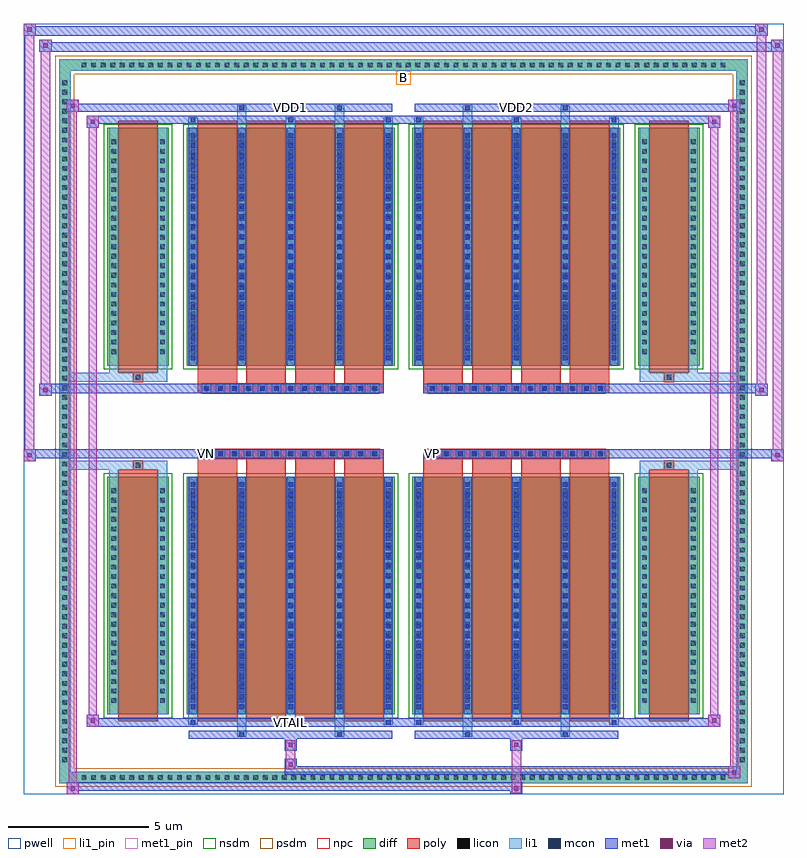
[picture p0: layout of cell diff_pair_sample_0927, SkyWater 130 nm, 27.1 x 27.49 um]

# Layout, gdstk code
import gdstk
lib = gdstk.Library(unit=1e-6, precision=5e-09)
def R(c, l, rs):  # rectangles x0, y0, x1, y1
    for r in rs: c.add(gdstk.rectangle(r[:2], r[2:], *l))
def A(c, l, x, y, w, h, nx, ny, dx, dy):  # array of equal rectangles
    R(c, l, [(x+i*dx, y+j*dy, x+i*dx+w, y+j*dy+h) for i in range(nx) for j in range(ny)])
def P(c, l, *ps):  # polygons
    for p in ps: c.add(gdstk.Polygon(p, *l))
pwell = (64, 44)
diff = (65, 20)
poly = (66, 20)
licon = (66, 44)
li1_pin = (67, 16)
li1 = (67, 20)
mcon = (67, 44)
met1_pin = (68, 16)
met1 = (68, 20)
via = (68, 44)
met2 = (69, 20)
nsdm = (93, 44)
psdm = (94, 20)
npc = (95, 20)

diff_pair_sample_0927 = lib.new_cell('diff_pair_sample_0927')
R(diff_pair_sample_0927, pwell, [(-13.55,-13.31,13.55,14.18), (-10.87,-11.5,-0.01,-0.8), (0.01,-11.5,10.87,-0.8), (-10.87,0.8,-0.01,11.5), (0.01,0.8,10.87,11.5)])
A(diff_pair_sample_0927, diff, -11.595, -12.91, 0.41, 0.41, 68, 2, 0.34, 25.41)
A(diff_pair_sample_0927, diff, -12.28, -12.275, 0.41, 0.41, 1, 72, 0, 0.34)
A(diff_pair_sample_0927, diff, 11.87, -12.275, 0.41, 0.41, 1, 72, 0, 0.34)
R(diff_pair_sample_0927, diff, [(-11.595,-12.91,11.595,-12.5), (-12.28,-12.275,-11.87,12.275), (11.87,-12.275,12.28,12.275), (-10.56,-10.455,-8.37,-1.985), (-7.73,-10.455,-0.32,-1.985), (0.32,-10.455,7.73,-1.985), (8.37,-10.455,10.56,-1.985), (-10.56,1.985,-8.37,10.455), (-7.73,1.985,-0.32,10.455), (0.32,1.985,7.73,10.455), (8.37,1.985,10.56,10.455), (-11.595,12.5,11.595,12.91)])
P(diff_pair_sample_0927, diff, [(12.28,12.91),(-12.28,12.91),(-12.28,-12.5),(-11.87,-12.5),(-11.87,12.5),(11.87,12.5),(11.87,-12.5),(-11.87,-12.5),(-12.28,-12.5),(-12.28,-12.91),(12.28,-12.91)])
A(diff_pair_sample_0927, poly, -7.34, -10.705, 1.41, 8.97, 4, 2, 1.74, 12.44)
A(diff_pair_sample_0927, poly, 0.71, -10.705, 1.41, 8.97, 4, 2, 1.74, 12.44)
A(diff_pair_sample_0927, poly, -7.34, -1.735, 1.41, 0.405, 4, 2, 1.74, 3.065)
A(diff_pair_sample_0927, poly, 0.71, -1.735, 1.41, 0.405, 4, 2, 1.74, 3.065)
A(diff_pair_sample_0927, poly, -7.19, -1.33, 0.33, 0.33, 13, 2, 0.5, 2.33)
A(diff_pair_sample_0927, poly, 0.86, -1.33, 0.33, 0.33, 13, 2, 0.5, 2.33)
R(diff_pair_sample_0927, poly, [(-10.17,-10.705,-8.76,-1.735), (8.76,-10.705,10.17,-1.735), (-9.63,-1.735,-9.3,-1.405), (-9.63,-1.735,-9.3,-1.405), (9.3,-1.735,9.63,-1.405), (9.3,-1.735,9.63,-1.405), (-7.34,-1.33,-0.71,-1), (0.71,-1.33,7.34,-1), (-7.34,1,-0.71,1.33), (0.71,1,7.34,1.33), (-9.63,1.405,-9.3,1.735), (-9.63,1.405,-9.3,1.735), (9.3,1.405,9.63,1.735), (9.3,1.405,9.63,1.735), (-10.17,1.735,-8.76,10.705), (8.76,1.735,10.17,10.705)])
A(diff_pair_sample_0927, licon, -11.475, -12.79, 0.17, 0.17, 68, 2, 0.34, 25.41)
A(diff_pair_sample_0927, licon, -12.16, -12.155, 0.17, 0.17, 1, 72, 0, 0.34)
A(diff_pair_sample_0927, licon, 11.99, -12.155, 0.17, 0.17, 1, 72, 0, 0.34)
A(diff_pair_sample_0927, licon, -10.42, -10.045, 0.17, 0.17, 1, 23, 0, 0.34)
A(diff_pair_sample_0927, licon, -8.68, -10.045, 0.17, 0.17, 1, 23, 0, 0.34)
A(diff_pair_sample_0927, licon, -7.59, -10.045, 0.17, 0.17, 5, 23, 1.74, 0.34)
A(diff_pair_sample_0927, licon, 0.46, -10.045, 0.17, 0.17, 5, 23, 1.74, 0.34)
A(diff_pair_sample_0927, licon, 8.51, -10.045, 0.17, 0.17, 1, 23, 0, 0.34)
A(diff_pair_sample_0927, licon, 10.25, -10.045, 0.17, 0.17, 1, 23, 0, 0.34)
A(diff_pair_sample_0927, licon, -7.11, -1.25, 0.17, 0.17, 13, 2, 0.5, 2.33)
A(diff_pair_sample_0927, licon, 0.94, -1.25, 0.17, 0.17, 13, 2, 0.5, 2.33)
A(diff_pair_sample_0927, licon, -10.42, 2.395, 0.17, 0.17, 1, 23, 0, 0.34)
A(diff_pair_sample_0927, licon, -8.68, 2.395, 0.17, 0.17, 1, 23, 0, 0.34)
A(diff_pair_sample_0927, licon, -7.59, 2.395, 0.17, 0.17, 5, 23, 1.74, 0.34)
A(diff_pair_sample_0927, licon, 0.46, 2.395, 0.17, 0.17, 5, 23, 1.74, 0.34)
A(diff_pair_sample_0927, licon, 8.51, 2.395, 0.17, 0.17, 1, 23, 0, 0.34)
A(diff_pair_sample_0927, licon, 10.25, 2.395, 0.17, 0.17, 1, 23, 0, 0.34)
R(diff_pair_sample_0927, licon, [(-9.55,-1.655,-9.38,-1.485), (9.38,-1.655,9.55,-1.485), (-9.55,1.485,-9.38,1.655), (9.38,1.485,9.55,1.655)])
R(diff_pair_sample_0927, li1_pin, [(-0.25,12,0.25,12.5)])
A(diff_pair_sample_0927, li1, -11.555, -12.87, 0.33, 0.33, 68, 2, 0.34, 25.41)
A(diff_pair_sample_0927, li1, -12.24, -12.235, 0.33, 0.33, 1, 72, 0, 0.34)
A(diff_pair_sample_0927, li1, 11.91, -12.235, 0.33, 0.33, 1, 72, 0, 0.34)
A(diff_pair_sample_0927, li1, -7.67, -10.83, 0.33, 0.375, 3, 2, 3.48, 21.285)
A(diff_pair_sample_0927, li1, -7.59, -10.83, 0.17, 0.17, 3, 2, 3.48, 21.49)
A(diff_pair_sample_0927, li1, 0.38, -10.83, 0.33, 0.375, 3, 2, 3.48, 21.285)
A(diff_pair_sample_0927, li1, 0.46, -10.83, 0.17, 0.17, 3, 2, 3.48, 21.49)
A(diff_pair_sample_0927, li1, -7.67, -10.455, 0.33, 8.47, 5, 2, 1.74, 12.44)
A(diff_pair_sample_0927, li1, 0.38, -10.455, 0.33, 8.47, 5, 2, 1.74, 12.44)
A(diff_pair_sample_0927, li1, -7.59, -10.265, 0.17, 0.17, 5, 23, 1.74, 0.36)
A(diff_pair_sample_0927, li1, -7.59, -10.265, 0.17, 8.09, 5, 2, 1.74, 12.44)
A(diff_pair_sample_0927, li1, 0.46, -10.265, 0.17, 0.17, 5, 23, 1.74, 0.36)
A(diff_pair_sample_0927, li1, 0.46, -10.265, 0.17, 8.09, 5, 2, 1.74, 12.44)
A(diff_pair_sample_0927, li1, -10.5, -10.125, 0.33, 0.33, 1, 23, 0, 0.34)
A(diff_pair_sample_0927, li1, -8.76, -10.125, 0.33, 0.33, 1, 23, 0, 0.34)
A(diff_pair_sample_0927, li1, -7.67, -10.125, 0.33, 0.33, 5, 23, 1.74, 0.34)
A(diff_pair_sample_0927, li1, 0.38, -10.125, 0.33, 0.33, 5, 23, 1.74, 0.34)
A(diff_pair_sample_0927, li1, 8.43, -10.125, 0.33, 0.33, 1, 23, 0, 0.34)
A(diff_pair_sample_0927, li1, 10.17, -10.125, 0.33, 0.33, 1, 23, 0, 0.34)
A(diff_pair_sample_0927, li1, -7.19, -1.33, 0.33, 0.33, 13, 2, 0.5, 2.33)
A(diff_pair_sample_0927, li1, 0.86, -1.33, 0.33, 0.33, 13, 2, 0.5, 2.33)
A(diff_pair_sample_0927, li1, -7.59, 2.175, 0.17, 0.17, 5, 23, 1.74, 0.36)
A(diff_pair_sample_0927, li1, 0.46, 2.175, 0.17, 0.17, 5, 23, 1.74, 0.36)
A(diff_pair_sample_0927, li1, -10.5, 2.315, 0.33, 0.33, 1, 23, 0, 0.34)
A(diff_pair_sample_0927, li1, -8.76, 2.315, 0.33, 0.33, 1, 23, 0, 0.34)
A(diff_pair_sample_0927, li1, -7.67, 2.315, 0.33, 0.33, 5, 23, 1.74, 0.34)
A(diff_pair_sample_0927, li1, 0.38, 2.315, 0.33, 0.33, 5, 23, 1.74, 0.34)
A(diff_pair_sample_0927, li1, 8.43, 2.315, 0.33, 0.33, 1, 23, 0, 0.34)
A(diff_pair_sample_0927, li1, 10.17, 2.315, 0.33, 0.33, 1, 23, 0, 0.34)
R(diff_pair_sample_0927, li1, [(-12.28,-12.91,-11.87,-12.5), (-12.28,-12.91,-11.87,-12.5), (-11.87,-12.91,11.87,-12.5), (11.87,-12.91,12.28,-12.5), (11.87,-12.91,12.28,-12.5), (-12.28,-12.5,-11.87,12.5), (11.87,-12.5,12.28,12.5), (-5.93,-11.26,-5.6,-10.455), (-5.85,-11.26,-5.68,-11.09), (-2.45,-11.26,-2.12,-10.455), (-2.37,-11.26,-2.2,-11.09), (2.12,-11.26,2.45,-10.455), (2.2,-11.26,2.37,-11.09), (5.6,-11.26,5.93,-10.455), (5.68,-11.26,5.85,-11.09), (-10.5,-10.455,-10.17,-1.985), (-8.76,-10.455,-8.43,-1.985), (8.43,-10.455,8.76,-1.985), (10.17,-10.455,10.5,-1.985), (-10.5,-1.985,-10.17,-1.405), (-8.76,-1.985,-8.43,-1.405), (8.43,-1.985,8.76,-1.405), (10.17,-1.985,10.5,-1.405), (-12.28,-1.735,-9.63,-1.405), (-10.5,-1.735,-9.63,-1.405), (-9.63,-1.735,-9.3,-1.405), (-9.3,-1.735,-8.43,-1.405), (8.43,-1.735,9.3,-1.405), (9.3,-1.735,9.63,-1.405), (9.3,-1.735,12.28,-1.405), (9.63,-1.735,10.5,-1.405), (-12.28,1.405,-9.63,1.735), (-10.5,1.405,-9.63,1.735), (-10.5,1.405,-10.17,1.985), (-9.63,1.405,-9.3,1.735), (-9.3,1.405,-8.43,1.735), (-8.76,1.405,-8.43,1.985), (8.43,1.405,9.3,1.735), (8.43,1.405,8.76,1.985), (9.3,1.405,9.63,1.735), (9.3,1.405,12.28,1.735), (9.63,1.405,10.5,1.735), (10.17,1.405,10.5,1.985), (-10.5,1.985,-10.17,10.455), (-8.76,1.985,-8.43,10.455), (8.43,1.985,8.76,10.455), (10.17,1.985,10.5,10.455), (-5.93,10.455,-5.6,11.26), (-2.45,10.455,-2.12,11.26), (2.12,10.455,2.45,11.26), (5.6,10.455,5.93,11.26), (-5.85,11.09,-5.68,11.26), (-2.37,11.09,-2.2,11.26), (2.2,11.09,2.37,11.26), (5.68,11.09,5.85,11.26), (-12.28,12.5,-11.87,12.91), (-12.28,12.5,-11.87,12.91), (-11.87,12.5,11.87,12.91), (11.87,12.5,12.28,12.91), (11.87,12.5,12.28,12.91)])
A(diff_pair_sample_0927, mcon, -7.59, -10.83, 0.17, 0.17, 3, 2, 3.48, 21.49)
A(diff_pair_sample_0927, mcon, 0.46, -10.83, 0.17, 0.17, 3, 2, 3.48, 21.49)
A(diff_pair_sample_0927, mcon, -7.59, -10.265, 0.17, 0.17, 5, 23, 1.74, 0.36)
A(diff_pair_sample_0927, mcon, 0.46, -10.265, 0.17, 0.17, 5, 23, 1.74, 0.36)
A(diff_pair_sample_0927, mcon, -7.11, -1.25, 0.17, 0.17, 13, 2, 0.5, 2.33)
A(diff_pair_sample_0927, mcon, 0.94, -1.25, 0.17, 0.17, 13, 2, 0.5, 2.33)
A(diff_pair_sample_0927, mcon, -7.59, 2.175, 0.17, 0.17, 5, 23, 1.74, 0.36)
A(diff_pair_sample_0927, mcon, 0.46, 2.175, 0.17, 0.17, 5, 23, 1.74, 0.36)
R(diff_pair_sample_0927, mcon, [(-5.85,-11.26,-5.68,-11.09), (-2.37,-11.26,-2.2,-11.09), (2.2,-11.26,2.37,-11.09), (5.68,-11.26,5.85,-11.09), (-5.85,11.09,-5.68,11.26), (-2.37,11.09,-2.2,11.26), (2.2,11.09,2.37,11.26), (5.68,11.09,5.85,11.26)])
R(diff_pair_sample_0927, met1_pin, [(-4.16,-10.87,-3.89,-10.6), (-7.16,-1.29,-6.89,-1.02), (0.89,-1.29,1.16,-1.02), (-4.16,11.05,-3.89,11.32), (3.89,11.05,4.16,11.32)])
A(diff_pair_sample_0927, met1, -7.65, -10.89, 0.29, 0.29, 3, 2, 3.48, 21.49)
A(diff_pair_sample_0927, met1, 0.4, -10.89, 0.29, 0.29, 3, 2, 3.48, 21.49)
A(diff_pair_sample_0927, met1, -7.65, -10.455, 0.29, 8.47, 5, 2, 1.74, 12.44)
A(diff_pair_sample_0927, met1, 0.4, -10.455, 0.29, 8.47, 5, 2, 1.74, 12.44)
A(diff_pair_sample_0927, met1, -7.65, -10.325, 0.29, 0.29, 5, 23, 1.74, 0.36)
A(diff_pair_sample_0927, met1, 0.4, -10.325, 0.29, 0.29, 5, 23, 1.74, 0.36)
A(diff_pair_sample_0927, met1, -7.17, -1.31, 0.29, 0.29, 13, 2, 0.5, 2.33)
A(diff_pair_sample_0927, met1, 0.88, -1.31, 0.29, 0.29, 13, 2, 0.5, 2.33)
A(diff_pair_sample_0927, met1, -7.65, 2.115, 0.29, 0.29, 5, 23, 1.74, 0.36)
A(diff_pair_sample_0927, met1, 0.4, 2.115, 0.29, 0.29, 5, 23, 1.74, 0.36)
R(diff_pair_sample_0927, met1, [(-12.01,-13.31,-11.58,-12.88), (3.81,-13.31,4.24,-12.88), (-12.01,-13.17,4.24,-12.88), (11.58,-12.74,12.01,-12.31), (-4.24,-12.6,12.01,-12.31), (-4.24,-12.46,-3.81,-12.03), (-4.24,-11.75,-3.81,-11.32), (3.81,-11.75,4.24,-11.32), (-7.65,-11.32,-0.4,-11.03), (-5.91,-11.32,-5.62,-11.03), (-2.43,-11.32,-2.14,-11.03), (0.4,-11.32,7.65,-11.03), (2.14,-11.32,2.43,-11.03), (5.62,-11.32,5.91,-11.03), (-11.3,-10.89,-10.87,-10.46), (-11.3,-10.89,-7.65,-10.6), (-7.65,-10.89,-0.4,-10.6), (-0.4,-10.89,0.4,-10.6), (0.4,-10.89,7.65,-10.6), (7.65,-10.89,11.3,-10.6), (10.87,-10.89,11.3,-10.46), (-13.55,-1.43,-13.12,-1), (13.12,-1.43,13.55,-1), (-13.55,-1.33,-0.71,-1), (-7.34,-1.33,-0.71,-1), (0.71,-1.33,7.34,-1), (0.71,-1.33,13.55,-1), (-12.98,0.9,-12.55,1.33), (12.55,0.9,12.98,1.33), (-12.98,1,-7.34,1.33), (-7.34,1,-0.71,1.33), (0.71,1,7.34,1.33), (7.34,1,12.98,1.33), (-11.3,10.46,-10.87,10.89), (10.87,10.46,11.3,10.89), (-11.3,10.6,-7.65,10.89), (-7.65,10.6,-0.4,10.89), (-0.4,10.6,0.4,10.89), (0.4,10.6,7.65,10.89), (7.65,10.6,11.3,10.89), (-12.01,11.03,-11.58,11.46), (-12.01,11.03,-7.65,11.32), (-7.65,11.03,-0.4,11.32), (-5.91,11.03,-5.62,11.32), (-2.43,11.03,-2.14,11.32), (0.4,11.03,7.65,11.32), (2.14,11.03,2.43,11.32), (5.62,11.03,5.91,11.32), (7.65,11.03,12.01,11.32), (11.58,11.03,12.01,11.46), (-12.98,13.18,-12.55,13.61), (-12.98,13.18,-10.87,13.51), (-10.87,13.18,10.87,13.51), (10.87,13.18,13.55,13.51), (13.12,13.18,13.55,13.61), (-13.55,13.75,-13.12,14.18), (-13.55,13.75,-10.87,14.08), (-10.87,13.75,10.87,14.08), (10.87,13.75,12.98,14.08), (12.55,13.75,12.98,14.18)])
R(diff_pair_sample_0927, via, [(-11.87,-13.17,-11.72,-13.02), (3.95,-13.17,4.1,-13.02), (11.72,-12.6,11.87,-12.45), (-4.1,-12.32,-3.95,-12.17), (-4.1,-11.61,-3.95,-11.46), (3.95,-11.61,4.1,-11.46), (-11.16,-10.75,-11.01,-10.6), (11.01,-10.75,11.16,-10.6), (-13.41,-1.29,-13.26,-1.14), (13.26,-1.29,13.41,-1.14), (-12.84,1.04,-12.69,1.19), (12.69,1.04,12.84,1.19), (-11.16,10.6,-11.01,10.75), (11.01,10.6,11.16,10.75), (-11.87,11.17,-11.72,11.32), (11.72,11.17,11.87,11.32), (-12.84,13.32,-12.69,13.47), (13.26,13.32,13.41,13.47), (-13.41,13.89,-13.26,14.04), (12.69,13.89,12.84,14.04)])
R(diff_pair_sample_0927, met2, [(-12.01,-13.31,-11.58,-12.88), (-11.94,-13.31,-11.65,11.46), (-11.65,-13.31,-11.58,-12.88), (-11.96,-13.26,-11.63,-12.93), (3.86,-13.26,4.19,-12.93), (3.86,-12.93,4.19,-11.7), (11.58,-12.74,12.01,-12.31), (11.65,-12.74,11.94,11.46), (11.94,-12.74,12.01,-12.31), (11.63,-12.69,11.96,-12.36), (-4.19,-12.41,-3.86,-12.08), (-4.19,-12.08,-3.86,-11.7), (-4.19,-11.7,-3.86,-11.37), (3.86,-11.7,4.19,-11.37), (-11.3,-10.89,-10.87,-10.46), (-11.23,-10.89,-10.94,10.89), (-10.94,-10.89,-10.87,-10.46), (10.87,-10.89,11.3,-10.46), (10.94,-10.89,11.23,10.89), (11.23,-10.89,11.3,-10.46), (-11.25,-10.84,-10.92,-10.51), (10.92,-10.84,11.25,-10.51), (-13.55,-1.43,-13.12,-1), (-13.5,-1.43,-13.17,14.18), (-13.17,-1.43,-13.12,-1), (13.12,-1.43,13.55,-1), (13.17,-1.43,13.5,13.61), (13.5,-1.43,13.55,-1), (-13.5,-1.38,-13.17,-1.05), (13.17,-1.38,13.5,-1.05), (-12.98,0.9,-12.55,1.33), (-12.93,0.9,-12.6,13.61), (-12.6,0.9,-12.55,1.33), (12.55,0.9,12.98,1.33), (12.6,0.9,12.93,14.18), (12.93,0.9,12.98,1.33), (-12.93,0.95,-12.6,1.28), (12.6,0.95,12.93,1.28), (-11.3,10.46,-10.87,10.89), (-10.94,10.46,-10.87,10.89), (10.87,10.46,11.3,10.89), (11.23,10.46,11.3,10.89), (-11.25,10.51,-10.92,10.84), (10.92,10.51,11.25,10.84), (-12.01,11.03,-11.58,11.46), (-11.65,11.03,-11.58,11.46), (11.58,11.03,12.01,11.46), (11.94,11.03,12.01,11.46), (-11.96,11.08,-11.63,11.41), (11.63,11.08,11.96,11.41), (-12.98,13.18,-12.55,13.61), (-12.6,13.18,-12.55,13.61), (13.12,13.18,13.55,13.61), (13.5,13.18,13.55,13.61), (-12.93,13.23,-12.6,13.56), (13.17,13.23,13.5,13.56), (-13.55,13.75,-13.12,14.18), (-13.17,13.75,-13.12,14.18), (12.55,13.75,12.98,14.18), (12.93,13.75,12.98,14.18), (-13.5,13.8,-13.17,14.13), (12.6,13.8,12.93,14.13)])
R(diff_pair_sample_0927, nsdm, [(-10.69,-10.585,-8.24,-1.855), (-7.86,-10.585,-0.19,-1.855), (0.19,-10.585,7.86,-1.855), (8.24,-10.585,10.69,-1.855), (-10.69,1.855,-8.24,10.585), (-7.86,1.855,-0.19,10.585), (0.19,1.855,7.86,10.585), (8.24,1.855,10.69,10.585)])
P(diff_pair_sample_0927, psdm, [(12.41,13.04),(-12.41,13.04),(-12.41,-12.37),(-11.74,-12.37),(-11.74,12.37),(11.74,12.37),(11.74,-12.37),(-11.74,-12.37),(-12.41,-12.37),(-12.41,-13.04),(12.41,-13.04)])
A(diff_pair_sample_0927, npc, -7.21, -1.35, 0.37, 0.37, 13, 2, 0.5, 2.33)
A(diff_pair_sample_0927, npc, 0.84, -1.35, 0.37, 0.37, 13, 2, 0.5, 2.33)
R(diff_pair_sample_0927, npc, [(-9.65,-1.755,-9.28,-1.385), (9.28,-1.755,9.65,-1.385), (-7.21,-1.35,-6.34,-0.98), (-7.21,-1.35,-6.34,-0.98), (-6.71,-1.35,-5.84,-0.98), (-6.71,-1.35,-5.84,-0.98), (-6.21,-1.35,-5.34,-0.98), (-6.21,-1.35,-5.34,-0.98), (-5.71,-1.35,-4.84,-0.98), (-5.71,-1.35,-4.84,-0.98), (-5.21,-1.35,-4.34,-0.98), (-5.21,-1.35,-4.34,-0.98), (-4.71,-1.35,-3.84,-0.98), (-4.71,-1.35,-3.84,-0.98), (-4.21,-1.35,-3.34,-0.98), (-4.21,-1.35,-3.34,-0.98), (-3.71,-1.35,-2.84,-0.98), (-3.71,-1.35,-2.84,-0.98), (-3.21,-1.35,-2.34,-0.98), (-3.21,-1.35,-2.34,-0.98), (-2.71,-1.35,-1.84,-0.98), (-2.71,-1.35,-1.84,-0.98), (-2.21,-1.35,-1.34,-0.98), (-2.21,-1.35,-1.34,-0.98), (-1.71,-1.35,-0.84,-0.98), (-1.71,-1.35,-0.84,-0.98), (0.84,-1.35,1.71,-0.98), (0.84,-1.35,1.71,-0.98), (1.34,-1.35,2.21,-0.98), (1.34,-1.35,2.21,-0.98), (1.84,-1.35,2.71,-0.98), (1.84,-1.35,2.71,-0.98), (2.34,-1.35,3.21,-0.98), (2.34,-1.35,3.21,-0.98), (2.84,-1.35,3.71,-0.98), (2.84,-1.35,3.71,-0.98), (3.34,-1.35,4.21,-0.98), (3.34,-1.35,4.21,-0.98), (3.84,-1.35,4.71,-0.98), (3.84,-1.35,4.71,-0.98), (4.34,-1.35,5.21,-0.98), (4.34,-1.35,5.21,-0.98), (4.84,-1.35,5.71,-0.98), (4.84,-1.35,5.71,-0.98), (5.34,-1.35,6.21,-0.98), (5.34,-1.35,6.21,-0.98), (5.84,-1.35,6.71,-0.98), (5.84,-1.35,6.71,-0.98), (6.34,-1.35,7.21,-0.98), (6.34,-1.35,7.21,-0.98), (-7.21,0.98,-6.34,1.35), (-7.21,0.98,-6.34,1.35), (-6.71,0.98,-5.84,1.35), (-6.71,0.98,-5.84,1.35), (-6.21,0.98,-5.34,1.35), (-6.21,0.98,-5.34,1.35), (-5.71,0.98,-4.84,1.35), (-5.71,0.98,-4.84,1.35), (-5.21,0.98,-4.34,1.35), (-5.21,0.98,-4.34,1.35), (-4.71,0.98,-3.84,1.35), (-4.71,0.98,-3.84,1.35), (-4.21,0.98,-3.34,1.35), (-4.21,0.98,-3.34,1.35), (-3.71,0.98,-2.84,1.35), (-3.71,0.98,-2.84,1.35), (-3.21,0.98,-2.34,1.35), (-3.21,0.98,-2.34,1.35), (-2.71,0.98,-1.84,1.35), (-2.71,0.98,-1.84,1.35), (-2.21,0.98,-1.34,1.35), (-2.21,0.98,-1.34,1.35), (-1.71,0.98,-0.84,1.35), (-1.71,0.98,-0.84,1.35), (0.84,0.98,1.71,1.35), (0.84,0.98,1.71,1.35), (1.34,0.98,2.21,1.35), (1.34,0.98,2.21,1.35), (1.84,0.98,2.71,1.35), (1.84,0.98,2.71,1.35), (2.34,0.98,3.21,1.35), (2.34,0.98,3.21,1.35), (2.84,0.98,3.71,1.35), (2.84,0.98,3.71,1.35), (3.34,0.98,4.21,1.35), (3.34,0.98,4.21,1.35), (3.84,0.98,4.71,1.35), (3.84,0.98,4.71,1.35), (4.34,0.98,5.21,1.35), (4.34,0.98,5.21,1.35), (4.84,0.98,5.71,1.35), (4.84,0.98,5.71,1.35), (5.34,0.98,6.21,1.35), (5.34,0.98,6.21,1.35), (5.84,0.98,6.71,1.35), (5.84,0.98,6.71,1.35), (6.34,0.98,7.21,1.35), (6.34,0.98,7.21,1.35), (-9.65,1.385,-9.28,1.755), (9.28,1.385,9.65,1.755)])
diff_pair_sample_0927.add(gdstk.Label('VTAIL', (-4.025,-10.735), layer=68, texttype=5))
diff_pair_sample_0927.add(gdstk.Label('VN', (-7.025,-1.155), layer=68, texttype=5))
diff_pair_sample_0927.add(gdstk.Label('VP', (1.025,-1.155), layer=68, texttype=5))
diff_pair_sample_0927.add(gdstk.Label('B', (0,12.25), layer=67, texttype=5))
diff_pair_sample_0927.add(gdstk.Label('VDD2', (4.025,11.185), layer=68, texttype=5))
diff_pair_sample_0927.add(gdstk.Label('VDD1', (-4.025,11.185), layer=68, texttype=5))

lib.write_gds('diff_pair_sample_0927.gds')
